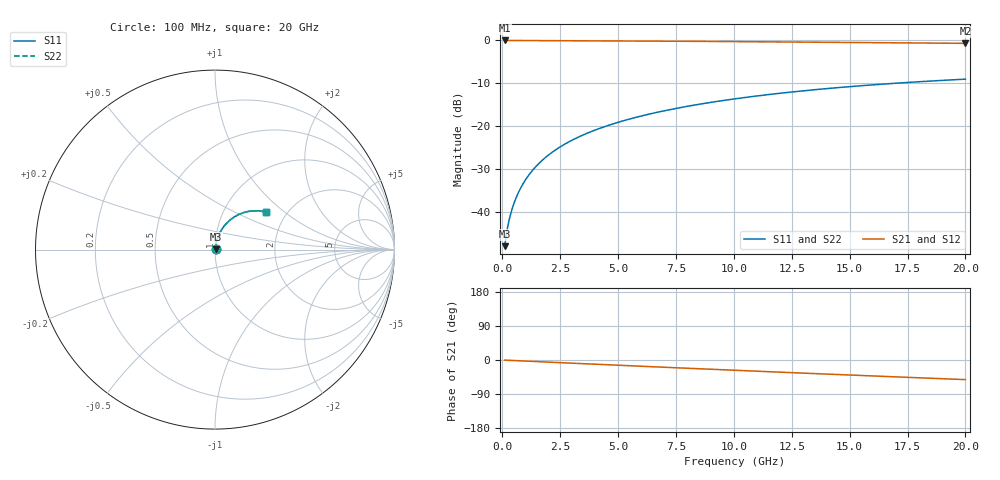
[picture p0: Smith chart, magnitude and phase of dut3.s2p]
! Touchstone file exported from HFSS 2026.1.0
!  File:  C:/ffzhzh/LocalFiles/Ansys_Project_Files/temp_train_BSMRDL_3_1782881748_43084.aedt
!  Generated:  12:57:19 PM Jul  1, 2026
!  Design:  BSMRDL
!  Project:  temp_train_BSMRDL_3_1782881748_43084
! Variables:
!  h_bsmrdl = 4.71um
!  h_ox = 20um
!  h_rdl = 5um
!  h_sub = 80um
!  h_tmrdl = 5um
!  h_tsv = 80um
!  h_via = 3um
!  l_bsmrdl = 843.41um
!  l_sub = 1243.41um
!  l_tmrdl = 200um
!  m_sub = 200um
!  pitch = 41.96um
!  r_tsv = 6um
!  s_tmrdl = 10um
!  w_bsmrdl = 22.94um
!  w_sub = 500um
!  w_tmrdl = 12um
!  x_tsv_center1 = 206um
!  x_tsv_center2 = 1072.35um
!  x_tsv_center3 = 1284.35um
!  x_tsv_center4 = 2150.7um
!  x_tsv_center5 = 2362.7um
!  x_tsv_center6 = 3229.05um
# GHz S MA R 50.000000
! Terminal data exported
! Port[1] = BSM_RDL1_1_T1
! Port[2] = BSM_RDL1_1_T2
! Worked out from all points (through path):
!   200 points, 100 MHz to 20 GHz, reference 50 ohm
!   highest |S21| = -0.03 dB at 100 MHz (marker M1); lowest = -0.7 dB at 20 GHz (marker M2)
!   group delay of S21, straight-line fit = 7.18 ps
!   lowest |S11| = -48.0 dB at 100 MHz (marker M3), VSWR 1.01, Z = 50.3 + j0.263 ohm
!   |S11| at or under -10 dB: start of sweep to 17.01 GHz
!   |S22| runs from -48.0 to -9.1 dB; largest |S21 - S12| = 3.6e-15
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0.1  0.003968 41.2  0.997 -0.3  0.997 -0.3  0.003968 41.2
! Gamma 0 0 0 0
! Port Impedance 50 0 50 0
0.2  0.006002 57.0  0.9968 -0.6  0.9968 -0.6  0.006002 57.0
0.3  0.008129 64.3  0.9966 -0.9  0.9966 -0.9  0.00813 64.3
0.4  0.01028 68.6  0.9964 -1.1  0.9964 -1.1  0.01028 68.6
0.5  0.01245 71.5  0.9963 -1.4  0.9963 -1.4  0.01245 71.5
0.6  0.01464 73.6  0.9962 -1.7  0.9962 -1.7  0.01464 73.5
0.8  0.01908 76.1  0.996 -2.3  0.996 -2.3  0.01908 76.1
1.1  0.0258 77.9  0.9957 -3.1  0.9957 -3.1  0.0258 77.9
1.3  0.03031 78.5  0.9954 -3.7  0.9954 -3.7  0.03031 78.5
1.6  0.03706 78.8  0.995 -4.5  0.995 -4.5  0.03706 78.7
2.1  0.04826 78.5  0.9941 -5.9  0.9941 -5.9  0.04826 78.5
2.7  0.06155 77.5  0.9928 -7.6  0.9928 -7.6  0.06156 77.5
3.5  0.07897 75.8  0.9908 -9.8  0.9908 -9.8  0.07897 75.8
4.2  0.0939 74.2  0.9888 -11.7  0.9888 -11.7  0.0939 74.2
5  0.1106 72.3  0.9863 -13.8  0.9863 -13.8  0.1106 72.3
5.9  0.129 70.1  0.9833 -16.2  0.9833 -16.2  0.129 70.0
6.8  0.1469 67.9  0.9801 -18.6  0.9801 -18.6  0.1469 67.8
8.3  0.1758 64.2  0.9744 -22.6  0.9744 -22.6  0.1758 64.1
10.1  0.2088 59.8  0.967 -27.3  0.967 -27.3  0.2088 59.7
13.4  0.2641 51.8  0.9523 -35.7  0.9523 -35.7  0.2641 51.7
16.7  0.3121 43.9  0.937 -43.8  0.937 -43.8  0.3121 43.8
20  0.3525 36.3  0.9223 -51.7  0.9223 -51.7  0.3525 36.1
